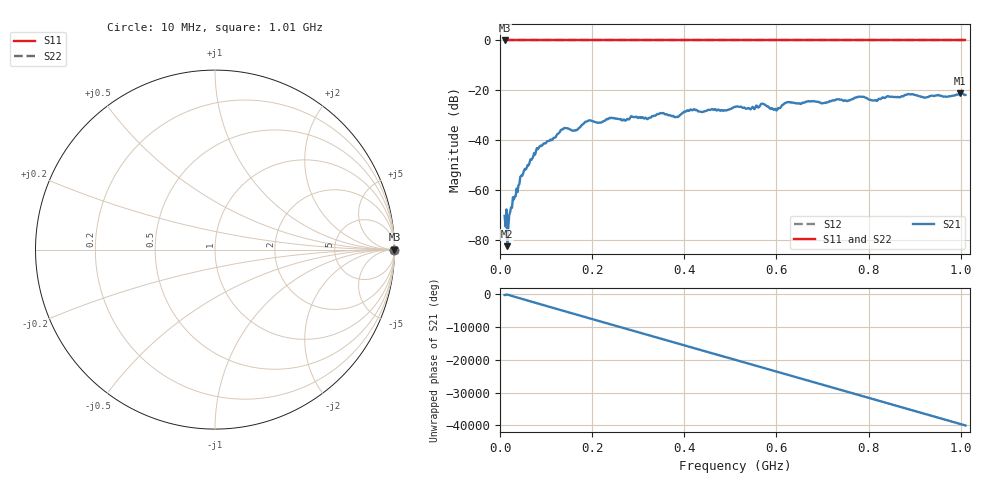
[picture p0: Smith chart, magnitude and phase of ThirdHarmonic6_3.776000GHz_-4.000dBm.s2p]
! 8/17/2025 1:00:23 PM
! C:\ANRITSUVNA\TEMP\TEMP.S2P
! CHANNEL.1
! TR.MEASUREMENT
! RAW.DATA
! RF.CORRECTION.OFF
! AVERAGING.OFF
! IF.BANDWIDTH: 5KHZ
! SWEEPTYPE:  FREQ.SWEEP(Linear)
! Reference Plane Port Info
! PORT:  PORT1  PORT2
! DISTANCE:  0  m  0  m
! TIME:  0  s  0  s
! PHASE.OFFSET:  0  deg.  0  deg.
! LOSS:  0  dB  0  dB
! REF.LOSS:  0  dB  0  dB
! REF.FREQ:  0  Hz  0  Hz
! Power Info
! POWER:  -20  dBm  -20  dBm
! EFF.POWER:  -20  dBm  -20  dBm
! SOURCE.ATTEN:  0  dB  0  dB
! TEST.ATTEN:  0  dB  0  dB
# GHZ S RI R 50.0
! FREQ.GHZ  S11RE  S11IM  S21RE  S21IM  S12RE  S12IM  S22RE  S22IM
!; PortSelection: Port_12
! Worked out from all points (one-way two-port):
!   501 points, 10 MHz to 1.01 GHz, reference 50 ohm
!   highest |S21| = -21.23 dB at 998 MHz (marker M1); lowest = -82.5 dB at 16 MHz (marker M2)
!   lowest |S11| = 0.0 dB at 10 MHz (marker M3)
!   |S11| at or under -10 dB: nowhere
!   |S22| runs from 0.0 to 0.0 dB; largest |S21 - S12| = 1.1
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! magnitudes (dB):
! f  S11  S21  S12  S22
! 10 MHz  0.0  -70.4  0.0  0.0
! 16 MHz  0.0  -82.5  0.0  0.0
! 20 MHz  0.0  -70.0  0.0  0.0
! 28 MHz  0.0  -62.9  0.0  0.0
! 48 MHz  0.0  -54.3  0.0  0.0
! 82 MHz  0.0  -43.6  0.0  0.0
! 136 MHz  0.0  -35.7  0.0  0.0
! 162 MHz  0.0  -36.2  0.0  0.0
! 178 MHz  0.0  -33.8  0.0  0.0
! 194 MHz  0.0  -32.1  0.0  0.0
! 322 MHz  0.0  -31.3  0.0  0.0
! 344 MHz  0.0  -29.6  0.0  0.0
! 382 MHz  0.0  -30.7  0.0  0.0
! 410 MHz  0.0  -28.3  0.0  0.0
! 510 MHz  0.0  -26.6  0.0  0.0
! 570 MHz  0.0  -25.3  0.0  0.0
! 598 MHz  0.0  -27.4  0.0  0.0
! 622 MHz  0.0  -24.9  0.0  0.0
! 678 MHz  0.0  -24.4  0.0  0.0
! 844 MHz  0.0  -22.5  0.0  0.0
! 998 MHz  0.0  -21.2  0.0  0.0
! 1.01 GHz  0.0  -21.9  0.0  0.0
